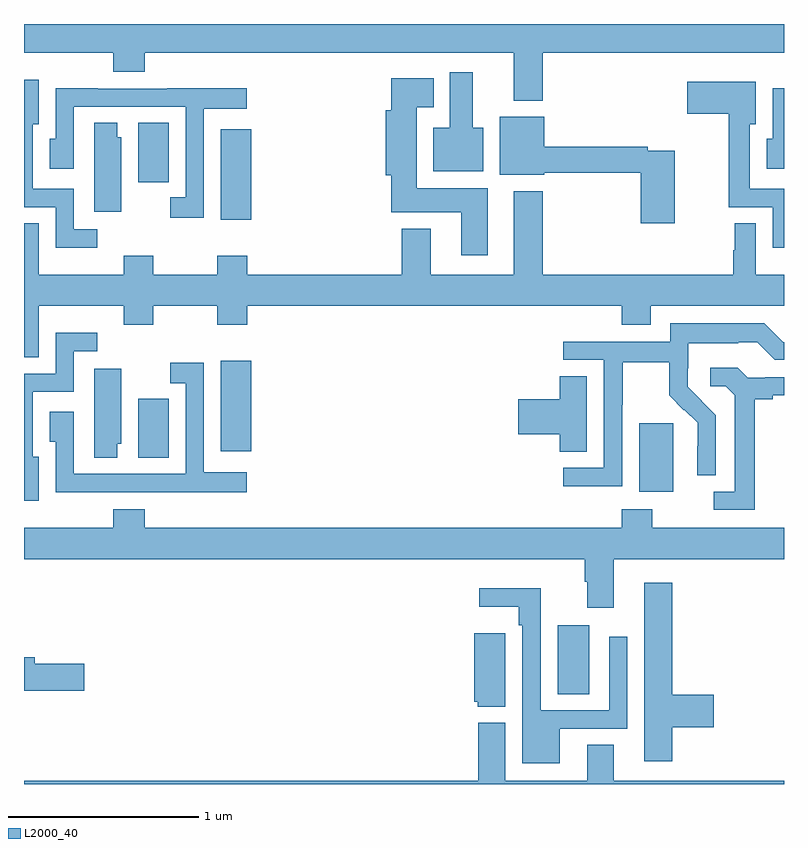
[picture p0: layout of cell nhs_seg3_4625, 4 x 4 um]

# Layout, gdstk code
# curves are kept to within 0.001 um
import gdstk
lib = gdstk.Library(unit=1e-6, precision=1e-09)
def R(c, l, rs):  # rectangles x0, y0, x1, y1
    for r in rs: c.add(gdstk.rectangle(r[:2], r[2:], *l))
def P(c, l, *ps):  # polygons
    for p in ps: c.add(gdstk.Polygon(p, *l))
L2000_40 = (2000, 40)

nhs_seg3_4625 = lib.new_cell('nhs_seg3_4625')
R(nhs_seg3_4625, L2000_40, [(361.808,698.872,361.975,699.235), (362.237,699.938,362.416,700.299), (359.6,700.117,359.761,700.428), (360.035,700.152,360.196,700.627), (360.035,701.37,360.196,701.845), (359.6,701.568,359.761,701.879)])
P(nhs_seg3_4625, L2000_40, [(361.73,702.248),(363,702.248),(363,702.4),(359,702.4),(359,702.248),(359.471,702.248),(359.471,702.149),(359.636,702.149),(359.636,702.248),(361.577,702.248),(361.577,701.996),(361.73,701.996)],
  [(361.417,701.854),(361.363,701.854),(361.363,702.145),(361.241,702.145),(361.241,701.854),(361.154,701.854),(361.154,701.624),(361.417,701.624)],
  [(361.441,701.536),(361.066,701.536),(361.066,701.963),(361.156,701.963),(361.156,702.115),(360.932,702.115),(360.932,701.947),(360.905,701.947),(360.905,701.603),(360.932,701.603),(360.932,701.408),(361.301,701.408),(361.301,701.184),(361.441,701.184)],
  [(359.386,701.319),(359.262,701.319),(359.262,701.532),(359.047,701.532),(359.047,701.873),(359.077,701.873),(359.077,702.106),(359,702.106),(359,701.436),(359.166,701.436),(359.166,701.222),(359.386,701.222)],
  [(363,701.532),(362.821,701.532),(362.821,701.873),(362.851,701.873),(362.851,702.097),(362.49,702.097),(362.49,701.927),(362.71,701.927),(362.71,701.436),(362.94,701.436),(362.94,701.222),(363,701.222)],
  [(363,702.062),(362.94,702.062),(362.94,701.796),(362.909,701.796),(362.909,701.637),(363,701.637)],
  [(359.946,701.954),(360.172,701.954),(360.172,702.062),(359.753,702.062),(359.753,702.06),(359.387,702.06),(359.387,702.062),(359.166,702.062),(359.166,701.796),(359.135,701.796),(359.135,701.637),(359.262,701.637),(359.262,701.964),(359.85,701.964),(359.85,701.487),(359.769,701.487),(359.769,701.379),(359.946,701.379)],
  [(362.424,701.733),(362.282,701.733),(362.282,701.753),(361.738,701.753),(361.738,701.911),(361.505,701.911),(361.505,701.606),(361.738,701.606),(361.738,701.617),(362.246,701.617),(362.246,701.352),(362.424,701.352)],
  [(359.512,701.805),(359.491,701.805),(359.491,701.879),(359.369,701.879),(359.369,701.412),(359.512,701.412)],
  [(362.147,700.817),(362.299,700.817),(362.299,700.916),(363,700.916),(363,701.08),(362.851,701.08),(362.851,701.351),(362.74,701.351),(362.74,701.208),(362.733,701.208),(362.733,701.08),(361.73,701.08),(361.73,701.521),(361.577,701.521),(361.577,701.08),(361.141,701.08),(361.141,701.323),(360.989,701.323),(360.989,701.08),(360.176,701.08),(360.176,701.179),(360.016,701.179),(360.016,701.08),(359.679,701.08),(359.679,701.179),(359.524,701.179),(359.524,701.08),(359.077,701.08),(359.077,701.351),(359,701.351),(359,700.645),(359.077,700.645),(359.077,700.916),(359.524,700.916),(359.524,700.817),(359.679,700.817),(359.679,700.916),(360.016,700.916),(360.016,700.817),(360.176,700.817),(360.176,700.916),(362.147,700.916)],
  [(362.148,700.396),(362.151,700.396),(362.151,700.62),(362.395,700.62),(362.395,700.445),(362.472,700.368),(362.475,700.371),(362.546,700.301),(362.546,700.178),(362.544,700.178),(362.544,700.024),(362.64,700.024),(362.64,700.342),(362.494,700.49),(362.494,700.587),(362.496,700.587),(362.496,700.721),(362.759,700.721),(362.759,700.725),(362.859,700.725),(362.952,700.632),(363,700.632),(363,700.725),(362.997,700.725),(362.897,700.825),(362.4,700.825),(362.4,700.728),(361.839,700.728),(361.839,700.632),(362.052,700.632),(362.052,700.065),(361.839,700.065),(361.839,699.967),(362.148,699.967)],
  [(359.077,700.123),(359.047,700.123),(359.047,700.464),(359.262,700.464),(359.262,700.677),(359.386,700.677),(359.386,700.774),(359.166,700.774),(359.166,700.56),(359,700.56),(359,699.891),(359.077,699.891)],
  [(359.387,699.936),(359.753,699.936),(359.753,699.935),(360.172,699.935),(360.172,700.042),(359.946,700.042),(359.946,700.618),(359.769,700.618),(359.769,700.509),(359.85,700.509),(359.85,700.032),(359.262,700.032),(359.262,700.36),(359.135,700.36),(359.135,700.201),(359.166,700.201),(359.166,699.935),(359.387,699.935)],
  [(362.845,700.424),(362.941,700.424),(362.941,700.446),(363,700.446),(363,700.542),(362.902,700.542),(362.902,700.539),(362.808,700.539),(362.756,700.591),(362.613,700.591),(362.613,700.494),(362.694,700.494),(362.741,700.447),(362.741,699.939),(362.631,699.939),(362.631,699.843),(362.845,699.843)],
  [(359.491,700.191),(359.512,700.191),(359.512,700.585),(359.369,700.585),(359.369,700.117),(359.491,700.117)],
  [(361.963,700.547),(361.82,700.547),(361.82,700.424),(361.602,700.424),(361.602,700.241),(361.82,700.241),(361.82,700.15),(361.963,700.15)],
  [(362.104,699.584),(363,699.584),(363,699.748),(362.307,699.748),(362.307,699.847),(362.147,699.847),(362.147,699.748),(359.636,699.748),(359.636,699.847),(359.471,699.847),(359.471,699.748),(359,699.748),(359,699.584),(361.952,699.584),(361.952,699.464),(361.964,699.464),(361.964,699.327),(362.104,699.327)],
  [(362.411,698.699),(362.629,698.699),(362.629,698.87),(362.411,698.87),(362.411,699.46),(362.264,699.46),(362.264,698.52),(362.411,698.52)],
  [(361.819,698.691),(362.175,698.691),(362.175,699.175),(362.079,699.175),(362.079,698.787),(361.719,698.787),(361.719,699.43),(361.395,699.43),(361.395,699.332),(361.603,699.332),(361.603,699.236),(361.623,699.236),(361.623,698.51),(361.819,698.51)],
  [(361.534,699.193),(361.37,699.193),(361.37,698.832),(361.389,698.832),(361.389,698.807),(361.534,698.807)],
  [(359.317,699.032),(359.056,699.032),(359.056,699.068),(359,699.068),(359,698.89),(359.317,698.89)],
  [(363,698.416),(362.104,698.416),(362.104,698.606),(361.964,698.606),(361.964,698.416),(361.534,698.416),(361.534,698.722),(361.391,698.722),(361.391,698.416),(359,698.416),(359,698.4),(363,698.4)])

lib.write_gds('nhs_seg3_4625.gds')
